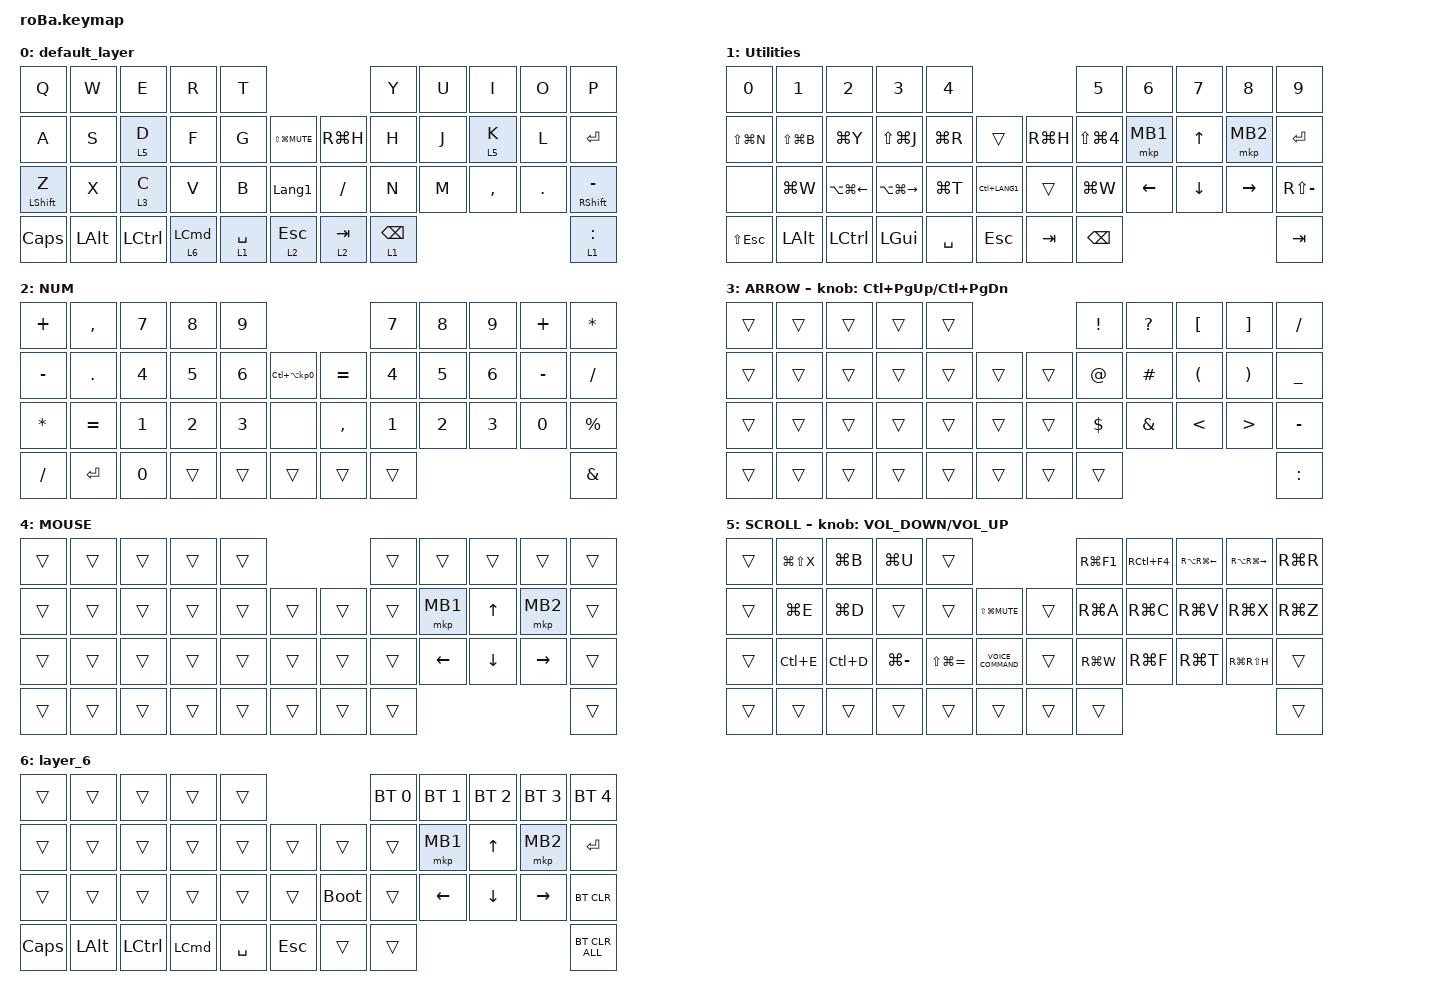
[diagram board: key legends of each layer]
#include <behaviors.dtsi>
#include <dt-bindings/zmk/bt.h>
#include <dt-bindings/zmk/keys.h>
#include <dt-bindings/zmk/pointing.h>

#define MOUSE 4
#define SCROLL 5
#define NUM 6

&mt {
    flavor = "balanced";
    quick-tap-ms = <0>;
};

/ {
    combos {
        compatible = "zmk,combos";

        tab {
            bindings = <&kp TAB>;
            key-positions = <11 12>;
        };

        shift_tab {
            bindings = <&kp LS(TAB)>;
            key-positions = <12 13>;
        };

        muhennkann {
            bindings = <&to_layer_0 INT_MUHENKAN>;
            key-positions = <11 10>;
        };

        double_quotation {
            bindings = <&kp DOUBLE_QUOTES>;
            key-positions = <20 21>;
        };

        eq {
            bindings = <&kp EQUAL>;
            key-positions = <24 25>;
        };
    };

    macros {
        to_layer_0: to_layer_0 {
            compatible = "zmk,behavior-macro-one-param";
            #binding-cells = <1>;
            bindings = <&to 0 &macro_param_1to1 &kp MACRO_PLACEHOLDER>;
            label = "TO_LAYER_0";
        };
    };

    behaviors {
        lt_to_layer_0: lt_to_layer_0 {
            compatible = "zmk,behavior-hold-tap";
            label = "LAYER_TAP_TO_0";
            bindings = <&mo>, <&to_layer_0>;

            #binding-cells = <2>;
            tapping-term-ms = <200>;
        };
    };

    keymap {
        compatible = "zmk,keymap";

        default_layer {
            bindings = <
&kp Q             &kp W         &kp E             &kp R               &kp T                                                &kp Y            &kp U  &kp I      &kp O    &kp P
&kp A             &kp S         &lt 5 D           &kp F               &kp G        &kp LS(LG(C_MUTE))           &kp RG(H)  &kp H            &kp J  &lt 5 K    &kp L    &kp ENTER
&mt LEFT_SHIFT Z  &kp X         &lt 3 C           &kp V               &kp B        &kp LANGUAGE_1               &kp SLASH  &kp N            &kp M  &kp COMMA  &kp DOT  &mt RIGHT_SHIFT MINUS
&kp CAPS          &kp LEFT_ALT  &kp LEFT_CONTROL  &lt 6 LEFT_COMMAND  &lt 1 SPACE  &lt_to_layer_0 2 ESCAPE      &lt 2 TAB  &lt 1 BACKSPACE                             &lt 1 COLON
            >;
        };

        Utilities {
            bindings = <
&kp N0          &kp N1         &kp N2            &kp N3             &kp N4                                   &kp N5                &kp N6    &kp N7        &kp N8     &kp N9
&kp LS(LG(N))   &kp LS(LG(B))  &kp LG(Y)         &kp LS(LG(J))      &kp LG(R)  &trans             &kp RG(H)  &kp LS(LG(NUMBER_4))  &mkp MB1  &kp UP_ARROW  &mkp MB2   &kp ENTER
&none           &kp LG(W)      &kp LA(LG(LEFT))  &kp LA(LG(RIGHT))  &kp LG(T)  &kp LC(LANG1)      &trans     &kp LG(W)             &kp LEFT  &kp DOWN      &kp RIGHT  &kp RS(MINUS)
&kp LS(ESCAPE)  &kp LEFT_ALT   &kp LEFT_CONTROL  &kp LEFT_GUI       &kp SPACE  &kp ESCAPE         &kp TAB    &kp BACKSPACE                                            &kp TAB
            >;
        };

        NUM {
            bindings = <
&kp PLUS      &kp COMMA   &kp NUMBER_7  &kp NUMBER_8  &kp NUMBER_9                                          &kp N7  &kp N8  &kp N9  &kp PLUS   &kp ASTERISK
&kp MINUS     &kp PERIOD  &kp NUMBER_4  &kp NUMBER_5  &kp NUMBER_6  &kp LC(LA(KP_NUMBER_0))      &kp EQUAL  &kp N4  &kp N5  &kp N6  &kp MINUS  &kp SLASH
&kp ASTERISK  &kp EQUAL   &kp NUMBER_1  &kp NUMBER_2  &kp N3        &none                        &kp COMMA  &kp N1  &kp N2  &kp N3  &kp N0     &kp PERCENT
&kp SLASH     &kp ENTER   &kp NUMBER_0  &trans        &trans        &trans                       &trans     &trans                             &kp AMPERSAND
            >;
        };

        ARROW {
            bindings = <
&trans  &trans  &trans  &trans  &trans                      &kp EXCLAMATION  &kp QUESTION   &kp LEFT_BRACKET      &kp RIGHT_BRACKET      &kp SLASH
&trans  &trans  &trans  &trans  &trans  &trans      &trans  &kp AT_SIGN      &kp HASH       &kp LEFT_PARENTHESIS  &kp RIGHT_PARENTHESIS  &kp UNDERSCORE
&trans  &trans  &trans  &trans  &trans  &trans      &trans  &kp DOLLAR       &kp AMPERSAND  &kp LESS_THAN         &kp GREATER_THAN       &kp MINUS
&trans  &trans  &trans  &trans  &trans  &trans      &trans  &trans                                                                       &kp COLON
            >;

            sensor-bindings = <&inc_dec_kp LC(PAGE_UP) LC(PAGE_DOWN)>;
        };

        MOUSE {
            bindings = <
&trans  &trans  &trans  &trans  &trans                      &trans  &trans    &trans        &trans     &trans
&trans  &trans  &trans  &trans  &trans  &trans      &trans  &trans  &mkp MB1  &kp UP_ARROW  &mkp MB2   &trans
&trans  &trans  &trans  &trans  &trans  &trans      &trans  &trans  &kp LEFT  &kp DOWN      &kp RIGHT  &trans
&trans  &trans  &trans  &trans  &trans  &trans      &trans  &trans                                     &trans
            >;
        };

        SCROLL {
            bindings = <
&trans  &kp LG(LS(X))  &kp LG(B)  &kp LG(U)      &trans                                              &kp RG(F1)  &kp RC(F4)  &kp RA(RG(LEFT))  &kp RA(RG(RIGHT))  &kp RG(R)
&trans  &kp LG(E)      &kp LG(D)  &trans         &trans             &kp LS(LG(C_MUTE))       &trans  &kp RG(A)   &kp RG(C)   &kp RG(V)         &kp RG(X)          &kp RG(Z)
&trans  &kp LC(E)      &kp LC(D)  &kp LG(MINUS)  &kp LS(LG(EQUAL))  &kp C_VOICE_COMMAND      &trans  &kp RG(W)   &kp RG(F)   &kp RG(T)         &kp RG(RS(H))      &trans
&trans  &trans         &trans     &trans         &trans             &trans                   &trans  &trans                                                       &trans
            >;

            sensor-bindings = <&inc_dec_kp C_VOLUME_DOWN C_VOLUME_UP>;
        };

        layer_6 {
            bindings = <
&trans        &trans        &trans            &trans            &trans                                  &bt BT_SEL 0  &bt BT_SEL 1  &bt BT_SEL 2  &bt BT_SEL 3  &bt BT_SEL 4
&trans        &trans        &trans            &trans            &trans     &trans          &trans       &trans        &mkp MB1      &kp UP        &mkp MB2      &kp ENTER
&trans        &trans        &trans            &trans            &trans     &trans          &bootloader  &trans        &kp LEFT      &kp DOWN      &kp RIGHT     &bt BT_CLR
&kp CAPSLOCK  &kp LEFT_ALT  &kp LEFT_CONTROL  &kp LEFT_COMMAND  &kp SPACE  &kp ESCAPE      &trans       &trans                                                  &bt BT_CLR_ALL
            >;
        };
    };
};
